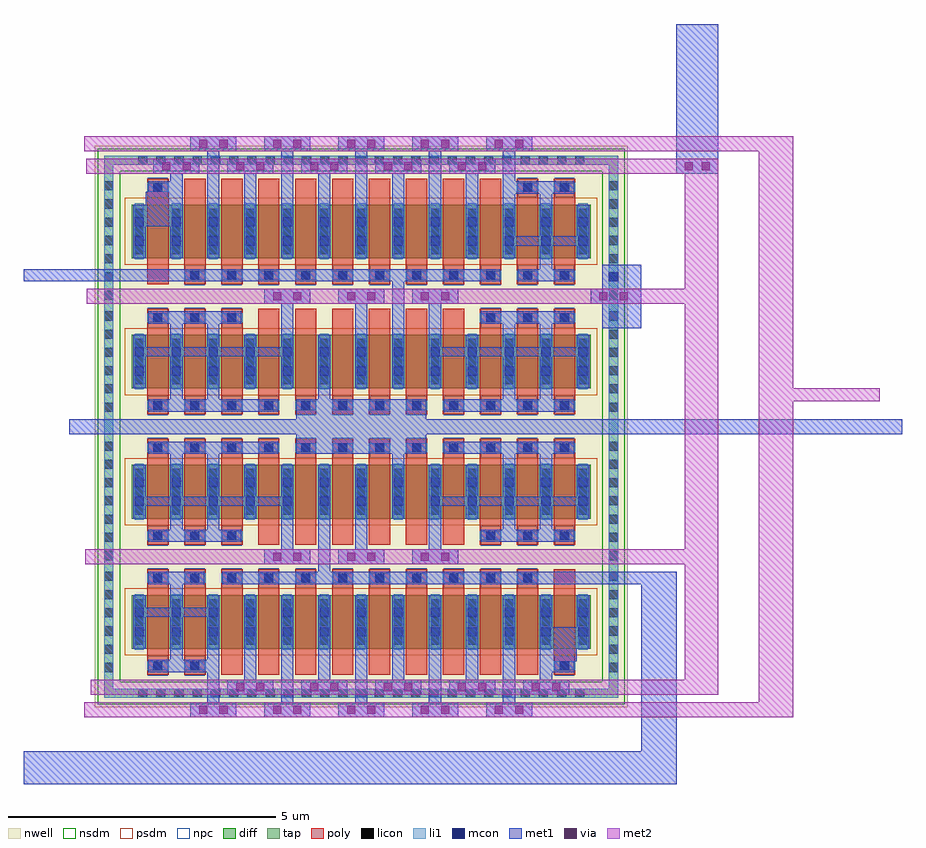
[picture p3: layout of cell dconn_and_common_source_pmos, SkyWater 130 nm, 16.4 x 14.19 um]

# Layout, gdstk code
import gdstk
lib = gdstk.Library(unit=1e-6, precision=1e-09)
def R(c, l, rs):  # rectangles x0, y0, x1, y1
    for r in rs: c.add(gdstk.rectangle(r[:2], r[2:], *l))
def A(c, l, x, y, w, h, nx, ny, dx, dy):  # array of equal rectangles
    R(c, l, [(x+i*dx, y+j*dy, x+i*dx+w, y+j*dy+h) for i in range(nx) for j in range(ny)])
def P(c, l, *ps):  # polygons
    for p in ps: c.add(gdstk.Polygon(p, *l))
nwell = (64, 20)
diff = (65, 20)
tap = (65, 44)
poly = (66, 20)
licon = (66, 44)
li1 = (67, 20)
mcon = (67, 44)
met1 = (68, 20)
via = (68, 44)
met2 = (69, 20)
nsdm = (93, 44)
psdm = (94, 20)
npc = (95, 20)

dconn_and_common_source_ = lib.new_cell('dconn_and_common_source_pmos')
R(dconn_and_common_source_, nwell, [(3.17,-3.67,13.12,3.62), (3.17,3.62,13.12,6.81)])
A(dconn_and_common_source_, diff, 3.86, -2.575, 8.57, 1, 1, 4, 0, 2.43)
A(dconn_and_common_source_, tap, 3.35, -3.32, 0.17, 2.49, 1, 4, 0, 2.43)
A(dconn_and_common_source_, tap, 12.77, -3.32, 0.17, 2.49, 1, 4, 0, 2.43)
R(dconn_and_common_source_, tap, [(3.35,-3.49,12.94,-3.32), (3.35,6.46,12.94,6.63)])
A(dconn_and_common_source_, poly, 4.15, -3.06, 0.4, 1.97, 12, 4, 0.69, 2.43)
A(dconn_and_common_source_, licon, 3.98, -3.49, 0.17, 0.17, 25, 2, 0.34, 9.95)
A(dconn_and_common_source_, licon, 3.35, -3.01, 0.17, 0.17, 1, 6, 0, 0.34)
A(dconn_and_common_source_, licon, 12.77, -3.01, 0.17, 0.17, 1, 6, 0, 0.34)
A(dconn_and_common_source_, licon, 3.92, -2.5, 0.17, 0.17, 13, 3, 0.69, 0.34)
A(dconn_and_common_source_, licon, 4.265, -1.34, 0.17, 0.17, 11, 1, 0.69, 0)
A(dconn_and_common_source_, licon, 3.35, -0.92, 0.17, 0.17, 1, 7, 0, 0.34)
A(dconn_and_common_source_, licon, 12.77, -0.92, 0.17, 0.17, 1, 7, 0, 0.34)
A(dconn_and_common_source_, licon, 4.265, -0.55, 0.17, 0.17, 3, 2, 0.69, 4.07)
A(dconn_and_common_source_, licon, 10.475, -0.55, 0.17, 0.17, 3, 2, 0.69, 4.07)
A(dconn_and_common_source_, licon, 3.92, -0.07, 0.17, 0.17, 13, 3, 0.69, 0.34)
A(dconn_and_common_source_, licon, 4.265, 1.09, 0.17, 0.17, 12, 2, 0.69, 0.79)
A(dconn_and_common_source_, licon, 3.35, 1.85, 0.17, 0.17, 1, 6, 0, 0.34)
A(dconn_and_common_source_, licon, 12.77, 1.85, 0.17, 0.17, 1, 6, 0, 0.34)
A(dconn_and_common_source_, licon, 3.92, 2.36, 0.17, 0.17, 13, 3, 0.69, 0.34)
A(dconn_and_common_source_, licon, 3.35, 3.94, 0.17, 0.17, 1, 7, 0, 0.34)
A(dconn_and_common_source_, licon, 12.77, 3.94, 0.17, 0.17, 1, 7, 0, 0.34)
A(dconn_and_common_source_, licon, 4.955, 4.31, 0.17, 0.17, 11, 1, 0.69, 0)
A(dconn_and_common_source_, licon, 3.92, 4.79, 0.17, 0.17, 13, 3, 0.69, 0.34)
R(dconn_and_common_source_, licon, [(4.265,-2.98,4.435,-2.81), (4.955,-2.98,5.125,-2.81), (11.855,-2.98,12.025,-2.81), (4.265,5.95,4.435,6.12), (11.165,5.95,11.335,6.12), (11.855,5.95,12.025,6.12)])
A(dconn_and_common_source_, li1, 3.35, -3.32, 0.17, 2.49, 1, 4, 0, 2.43)
A(dconn_and_common_source_, li1, 12.77, -3.32, 0.17, 2.49, 1, 4, 0, 2.43)
A(dconn_and_common_source_, li1, 3.92, -2.595, 0.17, 1.04, 13, 4, 0.69, 2.43)
A(dconn_and_common_source_, li1, 4.15, -1.34, 0.4, 0.17, 11, 1, 0.69, 0)
A(dconn_and_common_source_, li1, 4.15, -0.55, 0.4, 0.17, 3, 2, 0.69, 4.07)
A(dconn_and_common_source_, li1, 10.36, -0.55, 0.4, 0.17, 3, 2, 0.69, 4.07)
A(dconn_and_common_source_, li1, 4.15, 1.09, 0.4, 0.17, 12, 2, 0.69, 0.79)
A(dconn_and_common_source_, li1, 4.84, 4.31, 0.4, 0.17, 11, 1, 0.69, 0)
R(dconn_and_common_source_, li1, [(3.35,-3.49,12.94,-3.32), (4.15,-2.98,4.55,-2.81), (4.84,-2.98,5.24,-2.81), (11.74,-2.98,12.14,-2.81), (4.15,5.95,4.55,6.12), (11.05,5.95,11.45,6.12), (11.74,5.95,12.14,6.12), (3.35,6.46,12.94,6.63)])
A(dconn_and_common_source_, mcon, 3.92, -2.34, 0.17, 0.17, 13, 2, 0.69, 0.36)
A(dconn_and_common_source_, mcon, 4.265, -1.34, 0.17, 0.17, 11, 1, 0.69, 0)
A(dconn_and_common_source_, mcon, 4.265, -0.55, 0.17, 0.17, 3, 2, 0.69, 4.07)
A(dconn_and_common_source_, mcon, 10.475, -0.55, 0.17, 0.17, 3, 2, 0.69, 4.07)
A(dconn_and_common_source_, mcon, 3.92, 0.09, 0.17, 0.17, 13, 2, 0.69, 0.36)
A(dconn_and_common_source_, mcon, 4.265, 1.09, 0.17, 0.17, 12, 2, 0.69, 0.79)
A(dconn_and_common_source_, mcon, 3.92, 2.52, 0.17, 0.17, 13, 2, 0.69, 0.36)
A(dconn_and_common_source_, mcon, 4.955, 4.31, 0.17, 0.17, 11, 1, 0.69, 0)
A(dconn_and_common_source_, mcon, 3.92, 4.95, 0.17, 0.17, 13, 2, 0.69, 0.36)
R(dconn_and_common_source_, mcon, [(4.265,-2.98,4.435,-2.81), (4.955,-2.98,5.125,-2.81), (11.855,-2.98,12.025,-2.81), (12.77,4.28,12.94,4.45), (4.265,5.95,4.435,6.12), (11.165,5.95,11.335,6.12), (11.855,5.95,12.025,6.12)])
A(dconn_and_common_source_, met1, 4.955, -3.85, 0.86, 0.28, 5, 2, 1.38, 10.56)
A(dconn_and_common_source_, met1, 5.27, -3.85, 0.23, 1.275, 5, 2, 1.38, 9.565)
A(dconn_and_common_source_, met1, 5.645, -3.43, 0.86, 0.28, 5, 1, 1.38, 0)
A(dconn_and_common_source_, met1, 5.96, -3.43, 0.23, 0.855, 5, 1, 1.38, 0)
A(dconn_and_common_source_, met1, 3.89, -2.575, 0.23, 1, 13, 4, 0.69, 2.43)
A(dconn_and_common_source_, met1, 4.17, -1.37, 0.36, 0.23, 11, 1, 0.69, 0)
A(dconn_and_common_source_, met1, 6.335, -1, 0.86, 0.28, 3, 2, 1.38, 4.86)
A(dconn_and_common_source_, met1, 6.65, -1, 0.23, 0.855, 3, 2, 1.38, 4.285)
A(dconn_and_common_source_, met1, 4.17, -0.58, 0.36, 0.23, 3, 2, 0.69, 4.07)
A(dconn_and_common_source_, met1, 10.38, -0.58, 0.36, 0.23, 3, 2, 0.69, 4.07)
A(dconn_and_common_source_, met1, 4.17, 1.06, 0.36, 0.23, 12, 2, 0.69, 0.79)
A(dconn_and_common_source_, met1, 5.55, 4.28, 0.36, 0.23, 10, 1, 0.69, 0)
A(dconn_and_common_source_, met1, 4.58, 5.715, 0.23, 0.855, 5, 1, 1.38, 0)
A(dconn_and_common_source_, met1, 4.265, 6.29, 0.86, 0.28, 5, 1, 1.38, 0)
R(dconn_and_common_source_, met1, [(1.845,-5.1,14.035,-4.49), (13.375,-4.62,14.035,-1.14), (4.17,-3.01,4.53,-2.78), (4.17,-3.01,5.22,-2.78), (4.58,-3.01,4.81,-2.575), (4.86,-3.01,5.27,-2.78), (11.71,-3.01,12.12,-2.78), (11.71,-2.81,12.17,-2.17), (11.51,-2.34,12.37,-2.17), (3.92,-1.98,5.47,-1.81), (4.58,-1.575,4.81,-1.37), (4.17,-1.37,5.22,-1.14), (5.55,-1.37,11.43,-1.14), (7.34,-1.37,7.57,-0.145), (11.43,-1.37,14.035,-1.14), (4.17,-0.58,5.91,-0.35), (4.58,-0.58,4.81,-0.145), (5.27,-0.58,5.5,-0.145), (10.38,-0.58,12.12,-0.35), (10.79,-0.58,11.02,-0.145), (11.48,-0.58,11.71,-0.145), (3.92,0.09,6.85,0.26), (9.44,0.09,12.37,0.26), (4.58,0.855,4.81,1.29), (5.27,0.855,5.5,1.29), (8.72,0.855,8.95,1.71), (10.79,0.855,11.02,1.29), (11.48,0.855,11.71,1.29), (4.17,1.06,6.6,1.29), (6.93,1.06,9.36,2.08), (9.69,1.06,12.12,1.29), (2.7,1.43,18.245,1.71), (7.34,1.43,7.57,2.285), (4.17,1.85,6.6,2.08), (4.58,1.85,4.81,2.285), (5.27,1.85,5.5,2.285), (6.93,1.85,7.98,2.08), (10.05,1.85,12.12,2.08), (10.79,1.85,11.02,2.285), (11.48,1.85,11.71,2.285), (3.92,2.88,6.85,3.05), (9.44,2.88,12.37,3.05), (4.58,3.285,4.81,3.72), (5.27,3.285,5.5,3.72), (8.72,3.285,8.95,4.51), (10.79,3.285,11.02,3.72), (11.48,3.285,11.71,3.72), (12.645,3.41,13.37,4.59), (4.17,3.49,5.91,3.72), (10.38,3.49,12.12,3.72), (12.425,3.86,13.285,4.14), (1.845,4.28,5.22,4.51), (4.86,4.28,10.74,4.51), (11.07,4.28,12.12,4.51), (11.48,4.28,11.71,4.715), (10.82,4.95,12.37,5.12), (3.92,5.31,4.78,5.48), (4.12,5.31,4.58,5.95), (11.48,5.715,11.71,6.15), (4.17,5.92,4.81,6.15), (11.02,5.92,11.43,6.15), (11.07,5.92,12.12,6.15), (11.76,5.92,12.12,6.15), (14.025,6.29,14.805,6.57), (14.025,6.29,14.805,9.085)])
P(dconn_and_common_source_, met1, [(5.91,3.49),(5.91,3.72),(5.91,3.72),(5.91,3.49)])
R(dconn_and_common_source_, via, [(5.12,-3.785,5.27,-3.635), (5.5,-3.785,5.65,-3.635), (6.5,-3.785,6.65,-3.635), (6.88,-3.785,7.03,-3.635), (7.88,-3.785,8.03,-3.635), (8.26,-3.785,8.41,-3.635), (9.26,-3.785,9.41,-3.635), (9.64,-3.785,9.79,-3.635), (10.64,-3.785,10.79,-3.635), (11.02,-3.785,11.17,-3.635), (5.81,-3.365,5.96,-3.215), (6.19,-3.365,6.34,-3.215), (7.19,-3.365,7.34,-3.215), (7.57,-3.365,7.72,-3.215), (8.57,-3.365,8.72,-3.215), (8.95,-3.365,9.1,-3.215), (9.95,-3.365,10.1,-3.215), (10.33,-3.365,10.48,-3.215), (11.33,-3.365,11.48,-3.215), (11.71,-3.365,11.86,-3.215), (6.5,-0.935,6.65,-0.785), (6.88,-0.935,7.03,-0.785), (7.88,-0.935,8.03,-0.785), (8.26,-0.935,8.41,-0.785), (9.26,-0.935,9.41,-0.785), (9.64,-0.935,9.79,-0.785), (6.5,3.925,6.65,4.075), (6.88,3.925,7.03,4.075), (7.88,3.925,8.03,4.075), (8.26,3.925,8.41,4.075), (9.26,3.925,9.41,4.075), (9.64,3.925,9.79,4.075), (12.59,3.925,12.74,4.075), (12.97,3.925,13.12,4.075), (4.43,6.355,4.58,6.505), (4.81,6.355,4.96,6.505), (5.81,6.355,5.96,6.505), (6.19,6.355,6.34,6.505), (7.19,6.355,7.34,6.505), (7.57,6.355,7.72,6.505), (8.57,6.355,8.72,6.505), (8.95,6.355,9.1,6.505), (9.95,6.355,10.1,6.505), (10.33,6.355,10.48,6.505), (14.18,6.355,14.33,6.505), (14.5,6.355,14.65,6.505), (5.12,6.775,5.27,6.925), (5.5,6.775,5.65,6.925), (6.5,6.775,6.65,6.925), (6.88,6.775,7.03,6.925), (7.88,6.775,8.03,6.925), (8.26,6.775,8.41,6.925), (9.26,6.775,9.41,6.925), (9.64,6.775,9.79,6.925), (10.64,6.775,10.79,6.925), (11.02,6.775,11.17,6.925)])
R(dconn_and_common_source_, met2, [(2.975,-3.85,16.205,-3.57), (15.565,-3.85,16.205,6.99), (3.1,-3.43,14.805,-3.15), (14.18,-3.43,14.805,6.57), (2.995,-1,14.805,-0.72), (15.565,2.04,17.825,2.29), (3.025,3.86,14.805,4.14), (3.015,6.29,14.805,6.57), (2.975,6.71,16.205,6.99)])
A(dconn_and_common_source_, nsdm, 3.225, -3.195, 0.42, 2.43, 1, 3, 0, 2.43)
A(dconn_and_common_source_, nsdm, 12.645, -3.195, 0.42, 2.43, 1, 3, 0, 2.43)
R(dconn_and_common_source_, nsdm, [(3.225,-3.615,13.065,-3.195), (3.225,4.095,3.645,6.335), (12.645,4.095,13.065,6.335), (3.225,6.335,13.065,6.755)])
A(dconn_and_common_source_, psdm, 3.735, -2.7, 8.82, 1.25, 1, 4, 0, 2.43)
A(dconn_and_common_source_, npc, 4.165, -1.44, 0.37, 0.37, 11, 1, 0.69, 0)
A(dconn_and_common_source_, npc, 4.165, -0.65, 0.37, 0.37, 3, 2, 0.69, 4.07)
A(dconn_and_common_source_, npc, 10.375, -0.65, 0.37, 0.37, 3, 2, 0.69, 4.07)
A(dconn_and_common_source_, npc, 4.165, 0.99, 0.37, 0.37, 12, 2, 0.69, 0.79)
A(dconn_and_common_source_, npc, 4.855, 4.21, 0.37, 0.37, 11, 1, 0.69, 0)
R(dconn_and_common_source_, npc, [(4.165,-3.08,4.535,-2.71), (4.855,-3.08,5.225,-2.71), (11.755,-3.08,12.125,-2.71), (4.165,5.85,4.535,6.22), (11.065,5.85,11.435,6.22), (11.755,5.85,12.125,6.22)])

lib.write_gds('dconn_and_common_source_pmos.gds')
